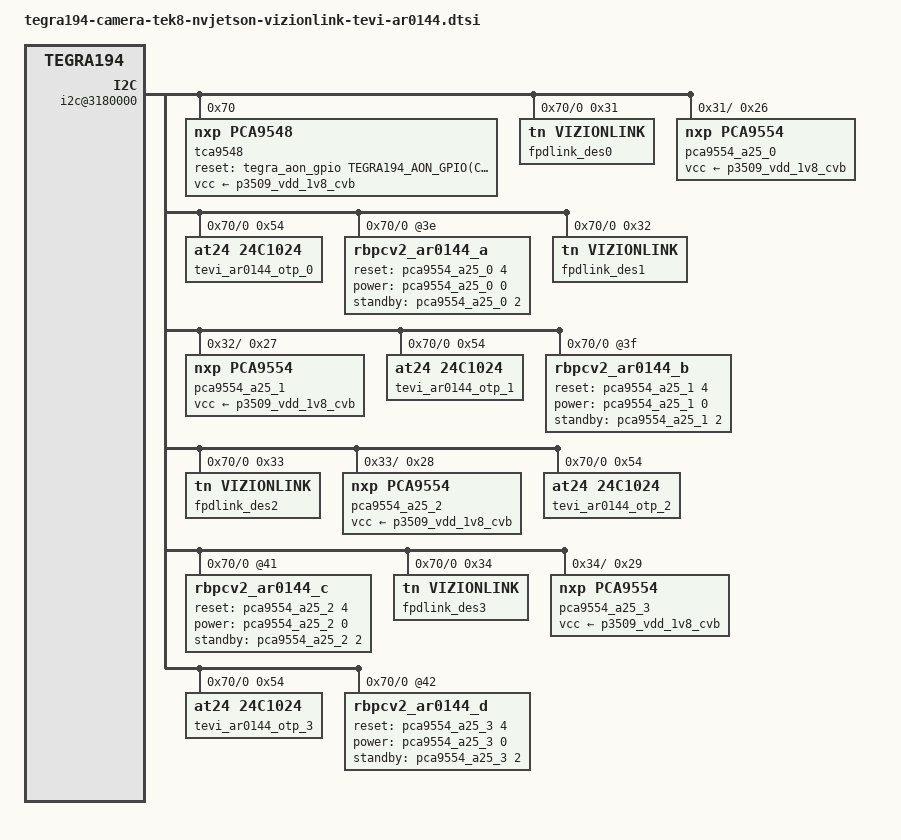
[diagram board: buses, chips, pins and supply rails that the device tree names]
/*
 * Copyright (c) 2021, NVIDIA CORPORATION.  All rights reserved.
 *
 * This program is free software; you can redistribute it and/or modify
 * it under the terms of the GNU General Public License as published by
 * the Free Software Foundation; either version 2 of the License, or
 * (at your option) any later version.
 *
 * This program is distributed in the hope that it will be useful, but WITHOUT
 * ANY WARRANTY; without even the implied warranty of MERCHANTABILITY or
 * FITNESS FOR A PARTICULAR PURPOSE.  See the GNU General Public License for
 * more details.
 *
 * You should have received a copy of the GNU General Public License
 * along with this program.  If not, see <http://www.gnu.org/licenses/>.
 */

#include "tegra194-camera-tek8-vizionlink-tevi-ar0144.dtsi"

//CSI0_RST  -> SOC_GPIO04 (CAM0_PWDN pin on EVK)
//CSI0_PWDN -> GPIO11
#define CAM0_RST	TEGRA194_MAIN_GPIO(P, 4)
#define CAM0_PWDN	TEGRA194_MAIN_GPIO(Q, 6)
//#define CAM0_PWDN	TEGRA194_MAIN_GPIO(P, 4)
//#define CAM1_PWDN	TEGRA194_MAIN_GPIO(P, 5)
//#define CAM_I2C_MUX 	TEGRA194_AON_GPIO(CC, 3)
//#define CAM0_RST	TEGRA194_MAIN_GPIO(P, 0)
#define CAM1_RST	TEGRA194_MAIN_GPIO(P, 1)

//#define CAM0_PWDN	TEGRA194_MAIN_GPIO(P, 4)
#define CAM1_PWDN	TEGRA194_MAIN_GPIO(P, 5)
#define CAMERA_I2C_MUX_BUS(x) (0x1E + x)

/ {
	i2c@3180000 { /* cam_i2c */
		tca9548@70 {
			compatible = "nxp,pca9548";
			reg = <0x70>;
			#address-cells = <1>;
			#size-cells = <0>;
			reset-gpios = <&tegra_aon_gpio TEGRA194_AON_GPIO(CC, 3) GPIO_ACTIVE_LOW>;
			skip_mux_detect = "yes";
			vcc-supply = <&p3509_vdd_1v8_cvb>;
			vcc_lp = "vcc";
			force_bus_start = <CAMERA_I2C_MUX_BUS(0)>;

			i2c@0 {
				reg = <0>;
				i2c-mux,deselect-on-exit;
				#address-cells = <1>;
				#size-cells = <0>;

				fpdlink_des0: vizionlink@31 {
					compatible = "tn,vizionlink";
					reg = <0x31>;
					phy-reg = <0x30>;
					port = <0>;
					//pdb-gpios = <&pca9555_a23 13 GPIO_ACTIVE_HIGH>;
					ser_alias_id = <0x40>;

					//i2c addr alias map "gpio extender, eeprom addr1, eeprom addr2, sensor"
					i2c_addr_alias_map_local = <0x26 0x54 0x55 0x3e>;
					i2c_addr_alias_map_remote = <0x25 0x54 0x55 0x3d>;

					//deserializer output csi lanes 1~4. default 4
					des_csi_lanes = <2>;

					//1: Enable 0: Disable continuous clock. default 0
					des_csi_continuous_clock = <0>;

					//serializer input csi lanes 1~4. default 4
					ser_csi_lanes = <2>;

					//1: Enable 0: Disable continuous clock. default 0
					ser_csi_continuous_clock = <0>;

					status = "okay";

					i2c_dev_list {
						#address-cells = <1>;
						#size-cells = <0>;

						pca9554_a25_0: pca9554@26 {
							compatible = "nxp,pca9554";
							reg = <0x26>;
							gpio-controller;
							#gpio-cells = <2>;
							vcc-supply = <&p3509_vdd_1v8_cvb>;
							vcc_lp = "vcc";
							status = "okay";
						};
					};
				};

				tevi_ar0144_otp_0: tevi_ar0144_otp@56 {
					compatible = "at24,24c1024";
					pagesize = <32>;
					reg = <0x54>;
				};

				rbpcv2_ar0144_a@3e {
					reset-gpios = <&pca9554_a25_0 4 GPIO_ACTIVE_HIGH>;
					power-gpios = <&pca9554_a25_0 0 GPIO_ACTIVE_HIGH>;
					standby-gpios = <&pca9554_a25_0 2 GPIO_ACTIVE_HIGH>;
					nvmem = <&tevi_ar0144_otp_0>;
					nvmem-names = "calib-data";

					nvidia,fpdlink-dser-device = <&fpdlink_des0>;
					vc_port = <0>;
				};



				fpdlink_des1: vizionlink@32 {
					compatible = "tn,vizionlink";
					reg = <0x32>;
					phy-reg = <0x30>;
					port = <1>;
					//pdb-gpios = <&pca9555_a23 13 GPIO_ACTIVE_HIGH>;
					ser_alias_id = <0x50>;

					//i2c addr alias map "gpio extender, eeprom addr1, eeprom addr2, sensor"
					i2c_addr_alias_map_local = <0x27 0x54 0x55 0x3f>;
					i2c_addr_alias_map_remote = <0x25 0x54 0x55 0x3d>;

					//deserializer output csi lanes 1~4. default 4
					des_csi_lanes = <2>;

					//1: Enable 0: Disable continuous clock. default 0
					des_csi_continuous_clock = <0>;

					//serializer input csi lanes 1~4. default 4
					ser_csi_lanes = <2>;

					//1: Enable 0: Disable continuous clock. default 0
					ser_csi_continuous_clock = <0>;

					status = "okay";

					i2c_dev_list {
						#address-cells = <1>;
						#size-cells = <0>;

						pca9554_a25_1: pca9554@27 {
							compatible = "nxp,pca9554";
							reg = <0x27>;
							gpio-controller;
							#gpio-cells = <2>;
							vcc-supply = <&p3509_vdd_1v8_cvb>;
							vcc_lp = "vcc";
							status = "okay";
						};
					};
				};

				tevi_ar0144_otp_1: tevi_ar0144_otp@57 {
					compatible = "at24,24c1024";
					pagesize = <32>;
					reg = <0x54>;
				};

				rbpcv2_ar0144_b@3f {
					reset-gpios = <&pca9554_a25_1 4 GPIO_ACTIVE_HIGH>;
					power-gpios = <&pca9554_a25_1 0 GPIO_ACTIVE_HIGH>;
					standby-gpios = <&pca9554_a25_1 2 GPIO_ACTIVE_HIGH>;
					nvmem = <&tevi_ar0144_otp_1>;
					nvmem-names = "calib-data";

					nvidia,fpdlink-dser-device = <&fpdlink_des1>;
					vc_port = <1>;
				};

				fpdlink_des2: vizionlink@33 {
					compatible = "tn,vizionlink";
					reg = <0x33>;
					phy-reg = <0x30>;
					port = <2>;
					//pdb-gpios = <&pca9555_a23 13 GPIO_ACTIVE_HIGH>;
					ser_alias_id = <0x20>;

					//i2c addr alias map "gpio extender, eeprom addr1, eeprom addr2, sensor"
					i2c_addr_alias_map_local = <0x28 0x54 0x55 0x41>;
					i2c_addr_alias_map_remote = <0x25 0x54 0x55 0x3d>;

					//deserializer output csi lanes 1~4. default 4
					des_csi_lanes = <2>;

					//1: Enable 0: Disable continuous clock. default 0
					des_csi_continuous_clock = <0>;

					//serializer input csi lanes 1~4. default 4
					ser_csi_lanes = <2>;

					//1: Enable 0: Disable continuous clock. default 0
					ser_csi_continuous_clock = <0>;

					status = "okay";

					i2c_dev_list {
						#address-cells = <1>;
						#size-cells = <0>;

						pca9554_a25_2: pca9554@28 {
							compatible = "nxp,pca9554";
							reg = <0x28>;
							gpio-controller;
							#gpio-cells = <2>;
							vcc-supply = <&p3509_vdd_1v8_cvb>;
							vcc_lp = "vcc";
							status = "okay";
						};
					};
				};

				tevi_ar0144_otp_2: tevi_ar0144_otp@58 {
					compatible = "at24,24c1024";
					pagesize = <32>;
					reg = <0x54>;
				};

				rbpcv2_ar0144_c@41 {
					reset-gpios = <&pca9554_a25_2 4 GPIO_ACTIVE_HIGH>;
					power-gpios = <&pca9554_a25_2 0 GPIO_ACTIVE_HIGH>;
					standby-gpios = <&pca9554_a25_2 2 GPIO_ACTIVE_HIGH>;
					nvmem = <&tevi_ar0144_otp_2>;
					nvmem-names = "calib-data";

					nvidia,fpdlink-dser-device = <&fpdlink_des2>;
					vc_port = <2>;
				};

				fpdlink_des3: vizionlink@34 {
					compatible = "tn,vizionlink";
					reg = <0x34>;
					phy-reg = <0x30>;
					port = <3>;
					//pdb-gpios = <&pca9555_a23 13 GPIO_ACTIVE_HIGH>;
					ser_alias_id = <0x22>;

					//i2c addr alias map "gpio extender, eeprom addr1, eeprom addr2, sensor"
					i2c_addr_alias_map_local = <0x29 0x54 0x55 0x42>;
					i2c_addr_alias_map_remote = <0x25 0x54 0x55 0x3d>;

					//deserializer output csi lanes 1~4. default 4
					des_csi_lanes = <2>;

					//1: Enable 0: Disable continuous clock. default 0
					des_csi_continuous_clock = <0>;

					//serializer input csi lanes 1~4. default 4
					ser_csi_lanes = <2>;

					//1: Enable 0: Disable continuous clock. default 0
					ser_csi_continuous_clock = <0>;

					status = "okay";

					i2c_dev_list {
						#address-cells = <1>;
						#size-cells = <0>;

						pca9554_a25_3: pca9554@29 {
							compatible = "nxp,pca9554";
							reg = <0x29>;
							gpio-controller;
							#gpio-cells = <2>;
							vcc-supply = <&p3509_vdd_1v8_cvb>;
							vcc_lp = "vcc";
							status = "okay";
						};
					};
				};

				tevi_ar0144_otp_3: tevi_ar0144_otp@59 {
					compatible = "at24,24c1024";
					pagesize = <32>;
					reg = <0x54>;
				};

				rbpcv2_ar0144_d@42 {
					reset-gpios = <&pca9554_a25_3 4 GPIO_ACTIVE_HIGH>;
					power-gpios = <&pca9554_a25_3 0 GPIO_ACTIVE_HIGH>;
					standby-gpios = <&pca9554_a25_3 2 GPIO_ACTIVE_HIGH>;
					nvmem = <&tevi_ar0144_otp_3>;
					nvmem-names = "calib-data";

					nvidia,fpdlink-dser-device = <&fpdlink_des3>;
					vc_port = <3>;
				};
			};
		};
	};
/*
	gpio@2200000 {
		camera-control-output-low {
			gpio-hog;
			output-low;
			gpios = <CAM0_PWDN 0 CAM1_PWDN 0>;
			label = "cam0-pwdn","cam1-pwdn";
		};
	};
*/
};
